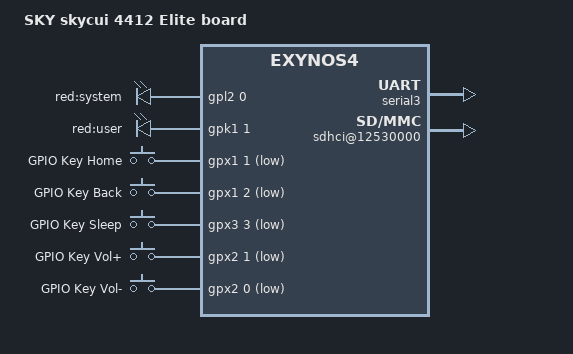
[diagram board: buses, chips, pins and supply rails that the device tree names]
/*
 * Skycui4412 board device tree source
 *
 * Copyright (c) 2017 pngcui
 *		<pngcui1224@163.com>
 *
 * SPDX-License-Identifier:	GPL-2.0+
 */

/dts-v1/;
#include "exynos4412.dtsi"
#include <dt-bindings/gpio/gpio.h>
#include <dt-bindings/input/input.h>

/ {
   model = "SKY skycui 4412 Elite board";
   compatible = "sky,skycui4412-elite", "samsung,exynos4412", "samsung,exynos4";

   chosen {
       stdout-path = "serial3:115200n8";
   };

   aliases {
       serial3 = "/serial@13830000";
       console = "/serial@13830000";
       mmc2 = "/sdhci@12530000";
   };

   leds {
       compatible = "gpio-leds";

       led2 {
           label = "red:system";
           gpios = <&gpl2 0 GPIO_ACTIVE_HIGH>;
           default-state = "off";
           linux,default-trigger = "heartbeat";
       };

       led3 {
           label = "red:user";
           gpios = <&gpk1 1 GPIO_ACTIVE_HIGH>;
           default-state = "off";
       };
   };

   gpio-keys {
       compatible = "gpio-keys";

       home {
           label = "GPIO Key Home";
           linux,code = <KEY_HOME>;
           gpios = <&gpx1 1 GPIO_ACTIVE_LOW>;
       };

       back {
           label = "GPIO Key Back";
           linux,code = <KEY_BACK>;
           gpios = <&gpx1 2 GPIO_ACTIVE_LOW>;
       };

       sleep {
           label = "GPIO Key Sleep";
           linux,code = <KEY_POWER>;
           gpios = <&gpx3 3 GPIO_ACTIVE_LOW>;
       };

       vol-up {
           label = "GPIO Key Vol+";
           linux,code = <KEY_UP>;
           gpios = <&gpx2 1 GPIO_ACTIVE_LOW>;
       };

       vol-down {
           label = "GPIO Key Vol-";
           linux,code = <KEY_DOWN>;
           gpios = <&gpx2 0 GPIO_ACTIVE_LOW>;
       };
   };

   serial3:serial@13830000 {
       status = "okay";
   };

   sdhci@12530000 {
       samsung,bus-width = <4>;
       status = "okay";
   };
};
